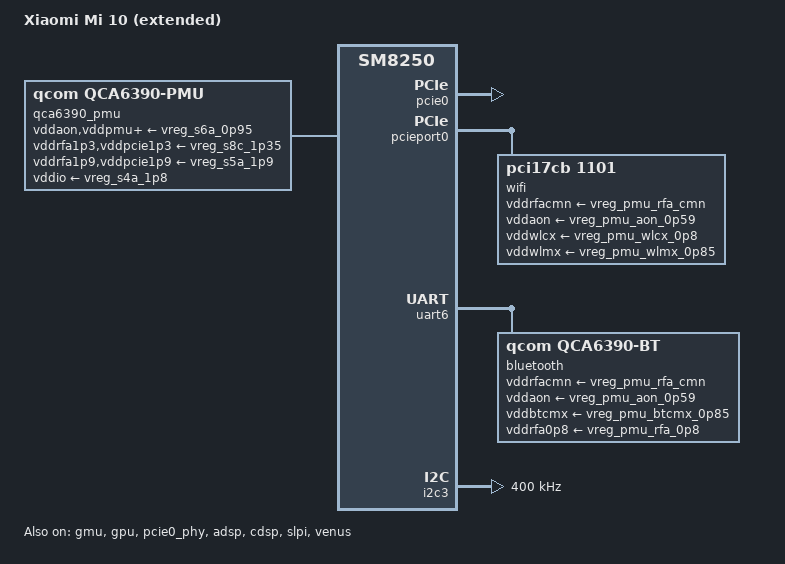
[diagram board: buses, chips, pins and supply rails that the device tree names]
// SPDX-License-Identifier: BSD-3-Clause
/*
 * Xiaomi Mi 10 (umi / M2001J2C) — SM8250 — 进阶外设
 *
 * 只有在 sm8250-xiaomi-umi.dts 已经能稳定进 console 之后再来玩这个。
 * 每个外设都标注了主线需要的前置条件，缺一个就会 probe 失败或卡死：
 *
 *   GPU(A650)      : 需要 a650_zap.mbn 放进 rootfs /lib/firmware
 *   PCIe + QCA6390 : 需要 qca6390 的 amss.bin/m3.bin/bdwlan.elf，且 CONFIG_ATH11K_PCI
 *   ADSP/CDSP/SLPI : 需要各自的 .mbn + .jsn，缺固件会 fail(-ENOENT)，不会崩，但会刷屏
 *   Venus          : 同上
 *   STM FTS 触摸    : 主线没有 `st,fts` 驱动（stmfts.c 只认 "st,stmfts"，协议也不同）→ 需自写
 *   J2 CSOT 面板    : 主线没有 panel driver（DSC 12 slice / 1080x2340 / 60-90Hz）→ 需自写
 */
/dts-v1/;

#include <dt-bindings/interrupt-controller/irq.h>
#include "sm8250-xiaomi-umi-common.dtsi"

/ {
	model = "Xiaomi Mi 10 (extended)";
	compatible = "xiaomi,umi", "qcom,sm8250";

	qca6390_pmu: qca6390-pmu {
		compatible = "qcom,qca6390-pmu";
		/* ★ WiFi/BT 使能在 gpio20/21，属于 TLMM 的 NORTH tile —— 那块在这台机器上
		 * 访问会 synchronous external abort（实测，见 BOOT-TEST-LOG.md §5）。
		 * NORTH 引脚已全部写进 gpio-reserved-ranges，所以这里既不能引用对应的
		 * pinctrl state（已从 common dtsi 删掉），也不能 request 这两个 GPIO。
		 * 等 NORTH 能访问了（查 interconnects / XPU 配置）再恢复。 */
		vddaon-supply = <&vreg_s6a_0p95>;
		vddpmu-supply = <&vreg_s6a_0p95>;
		vddrfa0p95-supply = <&vreg_s6a_0p95>;
		vddrfa1p3-supply = <&vreg_s8c_1p35>;
		vddrfa1p9-supply = <&vreg_s5a_1p9>;
		vddpcie1p3-supply = <&vreg_s8c_1p35>;
		vddpcie1p9-supply = <&vreg_s5a_1p9>;
		vddio-supply = <&vreg_s4a_1p8>;
		/* wlan-enable-gpios / bt-enable-gpios 暂时去掉：gpio20/21 在 NORTH tile */

		regulators {
			vreg_pmu_rfa_cmn: ldo0 { regulator-name = "vreg_pmu_rfa_cmn"; };
			vreg_pmu_aon_0p59: ldo1 { regulator-name = "vreg_pmu_aon_0p59"; };
			vreg_pmu_wlcx_0p8: ldo2 { regulator-name = "vreg_pmu_wlcx_0p8"; };
			vreg_pmu_wlmx_0p85: ldo3 { regulator-name = "vreg_pmu_wlmx_0p85"; };
			vreg_pmu_btcmx_0p85: ldo4 { regulator-name = "vreg_pmu_btcmx_0p85"; };
			vreg_pmu_rfa_0p8: ldo5 { regulator-name = "vreg_pmu_rfa_0p8"; };
			vreg_pmu_rfa_1p2: ldo6 { regulator-name = "vreg_pmu_rfa_1p2"; };
			vreg_pmu_rfa_1p7: ldo7 { regulator-name = "vreg_pmu_rfa_1p7"; };
			vreg_pmu_pcie_0p9: ldo8 { regulator-name = "vreg_pmu_pcie_0p9"; };
			vreg_pmu_pcie_1p8: ldo9 { regulator-name = "vreg_pmu_pcie_1p8"; };
		};
	};
};

/* ---------------------------------------------------------------- GPU (freedreno) */
&gmu {
	status = "okay";
};

&gpu {
	status = "okay";

	zap-shader {
		firmware-name = "qcom/sm8250/xiaomi/umi/a650_zap.mbn";
	};
};

/* ---------------------------------------------------------------- PCIe → QCA6390 WiFi */
&pcie0 {
	status = "okay";
};

&pcie0_phy {
	vdda-phy-supply = <&vreg_l5a_0p88>;
	vdda-pll-supply = <&vreg_l9a_1p2>;
	status = "okay";
};

&pcieport0 {
	wifi@0 {
		compatible = "pci17cb,1101";
		reg = <0x10000 0x0 0x0 0x0 0x0>;
		vddrfacmn-supply = <&vreg_pmu_rfa_cmn>;
		vddaon-supply = <&vreg_pmu_aon_0p59>;
		vddwlcx-supply = <&vreg_pmu_wlcx_0p8>;
		vddwlmx-supply = <&vreg_pmu_wlmx_0p85>;
		vddrfa0p8-supply = <&vreg_pmu_rfa_0p8>;
		vddrfa1p2-supply = <&vreg_pmu_rfa_1p2>;
		vddrfa1p7-supply = <&vreg_pmu_rfa_1p7>;
		vddpcie0p9-supply = <&vreg_pmu_pcie_0p9>;
		vddpcie1p8-supply = <&vreg_pmu_pcie_1p8>;
	};
};

/* ---------------------------------------------------------------- 蓝牙 (QCA6390 @ UART6) */
&uart6 {
	status = "okay";

	bluetooth {
		compatible = "qcom,qca6390-bt";
		vddrfacmn-supply = <&vreg_pmu_rfa_cmn>;
		vddaon-supply = <&vreg_pmu_aon_0p59>;
		vddbtcmx-supply = <&vreg_pmu_btcmx_0p85>;
		vddrfa0p8-supply = <&vreg_pmu_rfa_0p8>;
		vddrfa1p2-supply = <&vreg_pmu_rfa_1p2>;
		vddrfa1p7-supply = <&vreg_pmu_rfa_1p7>;
	};
};

/* ---------------------------------------------------------------- 远程处理器 */
&adsp {
	firmware-name = "qcom/sm8250/xiaomi/umi/adsp.mbn";
	status = "okay";
};

&cdsp {
	firmware-name = "qcom/sm8250/xiaomi/umi/cdsp.mbn";
	status = "okay";
};

&slpi {
	firmware-name = "qcom/sm8250/xiaomi/umi/slpi.mbn";
	status = "okay";
};

&venus {
	firmware-name = "qcom/sm8250/xiaomi/umi/venus.mbn";
	status = "okay";
};

/* ---------------------------------------------------------------- 触摸
 * 主线没有 `st,fts` 驱动 → 这个节点现在不会被任何 driver 绑定。
 * 先 disabled 免得 DECONFLICT/探测噪声；要驱动见 RUNBOOK 第 6 阶段。
 */
&i2c3 {
	clock-frequency = <400000>;
	status = "okay";

	touchscreen@49 {
		compatible = "st,fts";
		reg = <0x49>;
		interrupt-parent = <&tlmm>;
		interrupts = <39 IRQ_TYPE_EDGE_FALLING>;
		reset-gpios = <&tlmm 38 GPIO_ACTIVE_LOW>;
		avdd-supply = <&touch_vddio_vreg>;
		vdd-supply = <&pm8150a_l1_workaround>;
		touchscreen-size-x = <1080>;
		touchscreen-size-y = <2340>;
		pinctrl-names = "default", "sleep";
		pinctrl-0 = <&ts_active>;
		pinctrl-1 = <&ts_int_suspend &ts_reset_suspend>;

		status = "disabled";
	};
};
